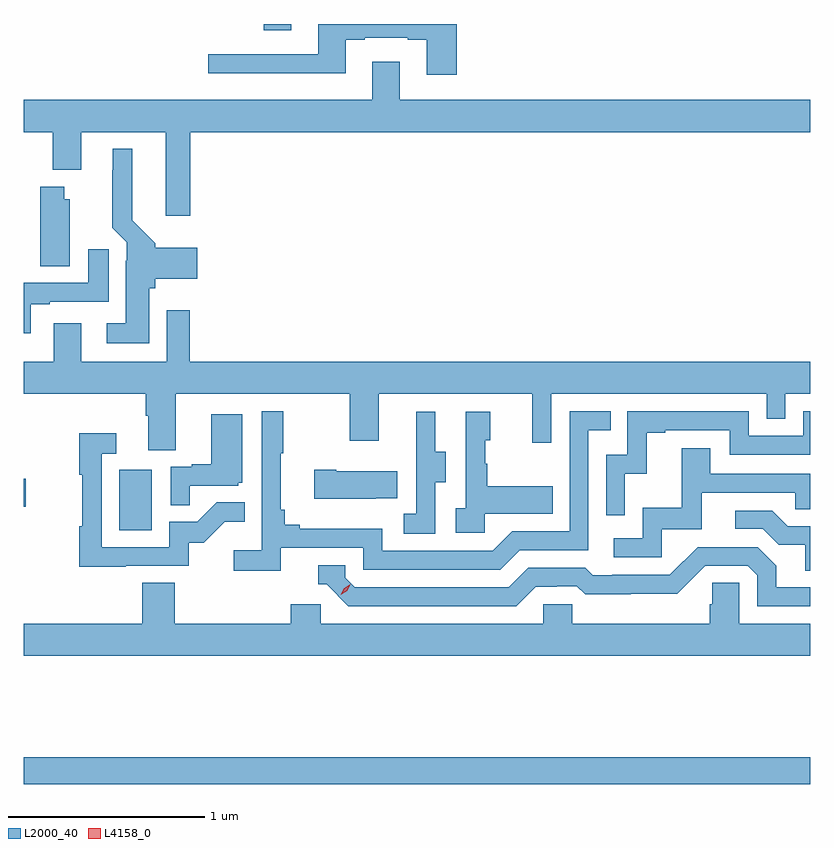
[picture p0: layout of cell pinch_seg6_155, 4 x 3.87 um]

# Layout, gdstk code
import gdstk
lib = gdstk.Library(unit=1e-6, precision=1e-09)
def R(c, l, rs):  # rectangles x0, y0, x1, y1
    for r in rs: c.add(gdstk.rectangle(r[:2], r[2:], *l))
def P(c, l, *ps):  # polygons
    for p in ps: c.add(gdstk.Polygon(p, *l))
L2000_40 = (2000, 40)
L4158_0 = (4158, 0)

pinch_seg6_155 = lib.new_cell('pinch_seg6_155')
R(pinch_seg6_155, L2000_40, [(996.002,924.04,1000.002,924.176), (996.488,925.332,996.652,925.639), (996.002,925.451,996.013,925.593), (997.223,927.873,997.363,927.906)])
P(pinch_seg6_155, L2000_40, [(998.204,927.906),(997.499,927.906),(997.499,927.753),(996.939,927.753),(996.939,927.656),(997.639,927.656),(997.639,927.825),(997.735,927.825),(997.735,927.837),(997.955,927.837),(997.955,927.825),(998.051,927.825),(998.051,927.648),(998.204,927.648)],
  [(996.848,927.356),(1000.002,927.356),(1000.002,927.52),(997.915,927.52),(997.915,927.715),(997.775,927.715),(997.775,927.52),(996.002,927.52),(996.002,927.356),(996.148,927.356),(996.148,927.164),(996.295,927.164),(996.295,927.356),(996.725,927.356),(996.725,926.931),(996.848,926.931)],
  [(996.64,926.562),(996.671,926.562),(996.671,926.609),(996.883,926.609),(996.883,926.767),(996.671,926.767),(996.671,926.79),(996.553,926.908),(996.553,927.271),(996.455,927.271),(996.455,927.161),(996.451,927.161),(996.451,926.87),(996.525,926.796),(996.525,926.702),(996.521,926.702),(996.521,926.383),(996.423,926.383),(996.423,926.282),(996.64,926.282)],
  [(996.235,927.015),(996.208,927.015),(996.208,927.079),(996.086,927.079),(996.086,926.674),(996.235,926.674)],
  [(996.037,926.481),(996.133,926.481),(996.133,926.493),(996.433,926.493),(996.433,926.761),(996.329,926.761),(996.329,926.589),(996.002,926.589),(996.002,926.334),(996.037,926.334)],
  [(996.775,926.024),(997.66,926.024),(997.66,925.785),(997.807,925.785),(997.807,926.024),(998.588,926.024),(998.588,925.776),(998.685,925.776),(998.685,926.024),(999.78,926.024),(999.78,925.897),(999.876,925.897),(999.876,926.024),(1000.002,926.024),(1000.002,926.188),(996.845,926.188),(996.845,926.449),(996.729,926.449),(996.729,926.188),(996.295,926.188),(996.295,926.383),(996.155,926.383),(996.155,926.188),(996.002,926.188),(996.002,926.024),(996.623,926.024),(996.623,925.912),(996.635,925.912),(996.635,925.738),(996.775,925.738)],
  [(997.31,925.242),(997.728,925.242),(997.728,925.131),(998.425,925.131),(998.524,925.23),(998.874,925.23),(998.874,925.839),(998.987,925.839),(998.987,925.935),(998.778,925.935),(998.778,925.326),(998.487,925.326),(998.388,925.227),(997.824,925.227),(997.824,925.339),(997.405,925.339),(997.405,925.358),(997.328,925.358),(997.328,925.435),(997.309,925.435),(997.309,925.723),(997.321,925.723),(997.321,925.936),(997.212,925.936),(997.212,925.228),(997.071,925.228),(997.071,925.126),(997.31,925.126)],
  [(999.06,925.619),(999.17,925.619),(999.17,925.827),(999.265,925.827),(999.265,925.839),(999.594,925.839),(999.594,925.716),(1000.002,925.716),(1000.002,925.935),(999.966,925.935),(999.966,925.812),(999.69,925.812),(999.69,925.935),(999.072,925.935),(999.072,925.716),(998.964,925.716),(998.964,925.407),(999.06,925.407)],
  [(998.346,925.415),(998.693,925.415),(998.693,925.555),(998.359,925.555),(998.359,925.67),(998.349,925.67),(998.349,925.788),(998.374,925.788),(998.374,925.933),(998.25,925.933),(998.25,925.442),(998.199,925.442),(998.199,925.317),(998.346,925.317)],
  [(998.094,925.576),(998.149,925.576),(998.149,925.731),(998.095,925.731),(998.095,925.933),(997.997,925.933),(997.997,925.719),(997.998,925.719),(997.998,925.415),(997.935,925.415),(997.935,925.312),(998.094,925.312)],
  [(996.845,925.557),(997.092,925.557),(997.092,925.572),(997.114,925.572),(997.114,925.921),(996.956,925.921),(996.956,925.666),(996.857,925.666),(996.857,925.653),(996.75,925.653),(996.75,925.459),(996.845,925.459)],
  [(996.521,925.149),(996.84,925.149),(996.84,925.266),(996.916,925.266),(997.023,925.373),(997.127,925.373),(997.127,925.472),(996.983,925.472),(996.885,925.374),(996.741,925.374),(996.741,925.245),(996.399,925.245),(996.399,925.719),(996.472,925.719),(996.472,925.825),(996.283,925.825),(996.283,925.612),(996.298,925.612),(996.298,925.352),(996.283,925.352),(996.283,925.144),(996.521,925.144)],
  [(999.246,925.335),(999.451,925.335),(999.451,925.521),(999.925,925.521),(999.925,925.437),(1000.002,925.437),(1000.002,925.617),(999.493,925.617),(999.493,925.747),(999.349,925.747),(999.349,925.444),(999.15,925.444),(999.15,925.29),(999.003,925.29),(999.003,925.194),(999.246,925.194)],
  [(997.793,925.493),(997.901,925.493),(997.901,925.63),(997.591,925.63),(997.591,925.638),(997.479,925.638),(997.479,925.49),(997.793,925.49)],
  [(1000.002,925.35),(999.889,925.35),(999.808,925.431),(999.621,925.431),(999.621,925.338),(999.762,925.338),(999.842,925.258),(999.977,925.258),(999.977,925.126),(1000.002,925.126)],
  [(998.605,925.044),(998.712,925.044),(998.712,925.047),(998.815,925.047),(998.857,925.005),(999.09,925.005),(999.09,925.007),(999.326,925.007),(999.468,925.149),(999.684,925.149),(999.732,925.101),(999.732,924.945),(1000.002,924.945),(1000.002,925.041),(999.829,925.041),(999.829,925.151),(999.735,925.245),(999.429,925.245),(999.288,925.104),(998.995,925.104),(998.995,925.101),(998.896,925.101),(998.857,925.14),(998.568,925.14),(998.469,925.041),(997.686,925.041),(997.638,925.089),(997.638,925.152),(997.499,925.152),(997.499,925.056),(997.542,925.056),(997.653,924.945),(998.506,924.945)],
  [(1000.002,924.856),(999.642,924.856),(999.642,925.064),(999.505,925.064),(999.505,924.954),(999.491,924.954),(999.491,924.856),(998.793,924.856),(998.793,924.954),(998.643,924.954),(998.643,924.856),(997.512,924.856),(997.512,924.954),(997.361,924.954),(997.361,924.856),(996.77,924.856),(996.77,925.064),(996.605,925.064),(996.605,924.856),(996.002,924.856),(996.002,924.692),(1000.002,924.692)])
P(pinch_seg6_155, L4158_0, [(997.614,925.003),(997.614,925.003),(997.631,925.036),(997.662,925.055),(997.662,925.055),(997.662,925.055),(997.646,925.022),(997.614,925.003)])

lib.write_gds('pinch_seg6_155.gds')
